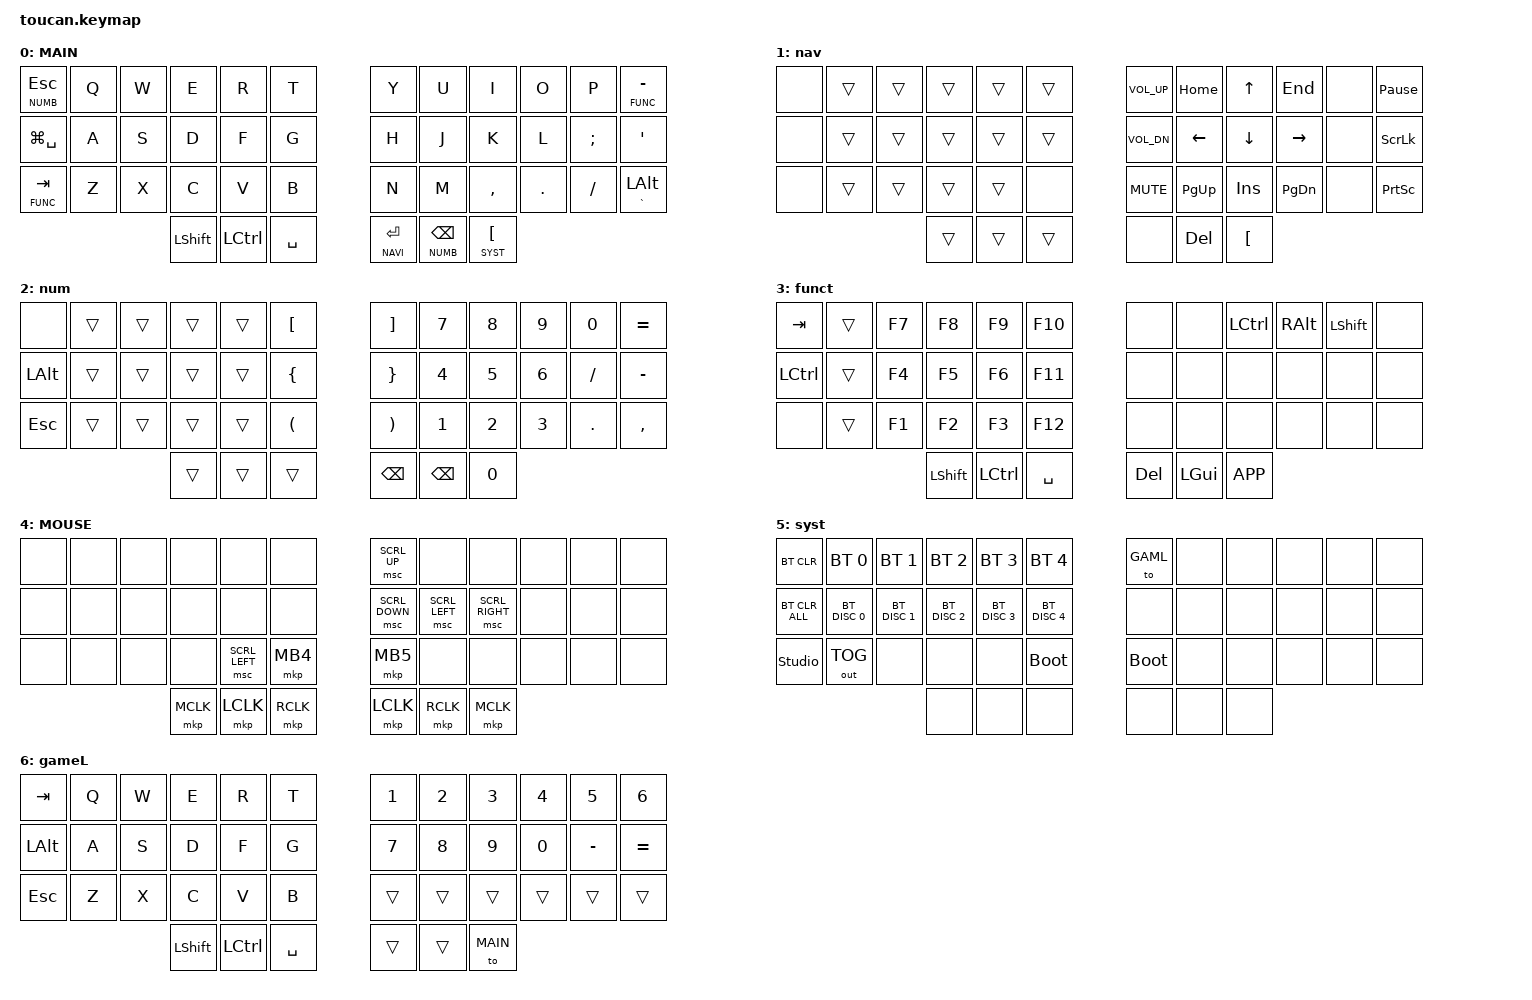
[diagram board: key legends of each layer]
#include <behaviors.dtsi>
#include <dt-bindings/zmk/keys.h>
#include <dt-bindings/zmk/bt.h>
#include <dt-bindings/zmk/outputs.h>
#include <dt-bindings/zmk/pointing.h>

#define MAIN 0
#define NAVI 1
#define NUMB 2
#define FUNC 3
#define MOUS 4
#define SYST 5
#define GAML 6

/ {
    conditional_layers {
        compatible = "zmk,conditional-layers";
        // tri_layer {
        //     if-layers = <1 2>;
        //     then-layer = <3>;
        // };
    };

    macros {
        quote_left: quote_left {
            label = "QUOTE_LEFT";
            compatible = "zmk,behavior-macro";
            #binding-cells = <0>;
            wait-ms = <15>;
            tap-ms = <15>;
            bindings
                = <&macro_press &kp LALT>
                , <&macro_tap &kp KP_N0 &kp KP_N1 &kp KP_N7 &kp KP_N1>
                , <&macro_release &kp LALT>;
        };

        quote_right: quote_right {
            label = "QUOTE_RIGHT";
            compatible = "zmk,behavior-macro";
            #binding-cells = <0>;
            wait-ms = <15>;
            tap-ms = <15>;
            bindings
                = <&macro_press &kp LALT>
                , <&macro_tap &kp KP_N0 &kp KP_N1 &kp KP_N8 &kp KP_N7>
                , <&macro_release &kp LALT>;
        };
    };
 
 
    keymap {
        compatible = "zmk,keymap";

        base {
            display-name = "MAIN";
            bindings = <
                &lt NUMB ESC   &kp Q  &kp W  &kp E     &kp R     &kp T        &kp Y &kp U   &kp I          &kp O    &kp P     &lt FUNC MINUS
                &kp LG(SPACE)  &kp A  &kp S  &kp D     &kp F     &kp G        &kp H &kp J   &kp K          &kp L    &kp SEMI  &kp SQT
                &lt FUNC TAB   &kp Z  &kp X  &kp C     &kp V     &kp B        &kp N &kp M   &kp COMMA      &kp DOT  &kp FSLH  &mt GRAVE LALT 
                                             &kp LSHFT &kp LCTRL &kp SPACE    &lt NAVI RET  &lt NUMB BSPC  &lt SYST LBKT
            >;
        };

        nav {
            display-name = "nav";
            bindings = <
                &none  &trans &trans  &trans  &trans       &trans    &kp C_VOL_UP  &kp HOME   &kp UP     &kp END    &none &kp PAUSE_BREAK
                &none  &trans &trans  &trans  &trans       &trans    &kp C_VOL_DN  &kp LEFT   &kp DOWN   &kp RIGHT  &none &kp SLCK
                &none  &trans &trans  &trans  &trans       &none     &kp C_MUTE    &kp PG_UP  &kp INS    &kp PG_DN  &none &kp PSCRN
                                      &trans  &trans       &trans    &none         &kp DEL    &kp LBKT
            >;
        };

        num {
            display-name = "num";
            bindings = <
                &none    &trans &trans  &trans  &trans  &kp LBKT      &kp RBKT  &kp N7   &kp N8  &kp N9  &kp N0   &kp EQUAL
                &kp LALT &trans &trans  &trans  &trans  &kp LBRC      &kp RBRC  &kp N4   &kp N5  &kp N6  &kp FSLH &kp MINUS
                &kp ESC  &trans &trans  &trans  &trans  &kp LPAR      &kp RPAR  &kp N1   &kp N2  &kp N3  &kp DOT  &kp COMMA
                                        &trans  &trans  &trans        &kp BSPC  &kp BSPC &kp N0
            >;
        };
 
        fun {
            display-name = "funct";
            bindings = <
            &kp TAB   &trans &kp F7    &kp F8 &kp F9 &kp F10      &none    &none     &kp LCTRL  &kp RALT  &kp LSHFT  &none
            &kp LCTRL &trans &kp F4    &kp F5 &kp F6 &kp F11      &none    &none     &none      &none     &none      &none
            &none     &trans &kp F1    &kp F2 &kp F3 &kp F12      &none    &none     &none      &none     &none      &none
                             &kp LSHFT &kp LCTRL  &kp SPACE       &kp DEL  &kp LGUI  &kp K_APP
            >;
        };
 
        mouse {
            display-name = "MOUSE";
            bindings = <
            &none  &none  &none &none      &none          &none          &msc SCRL_UP    &none         &none   &none  &none  &none
            &none  &none  &none &none      &none          &none          &msc SCRL_DOWN  &msc SCRL_LEFT &msc SCRL_RIGHT &none  &none &none
            &none  &none  &none &none      &msc SCRL_LEFT &mkp MB4       &mkp MB5        &none          &none         &none  &none &none
                                &mkp MCLK  &mkp LCLK      &mkp RCLK      &mkp LCLK       &mkp RCLK      &mkp MCLK
            >;
        };

        sys {
            display-name = "syst";
            bindings = <
                &bt BT_CLR      &bt BT_SEL 0   &bt BT_SEL 1  &bt BT_SEL 2   &bt BT_SEL 3   &bt BT_SEL 4      &to GAML       &none  &none &none &none &none
                &bt BT_CLR_ALL  &bt BT_DISC 0  &bt BT_DISC 1 &bt BT_DISC 2  &bt BT_DISC 3  &bt BT_DISC 4     &none        &none  &none &none &none &none
                &studio_unlock  &out OUT_TOG   &none         &none          &none          &bootloader       &bootloader  &none  &none &none &none &none
                                               &none &none   &none                                           &none        &none  &none
            >;
        };
		
		gameL {
            display-name = "gameL";
            bindings = <
                &kp TAB    &kp Q  &kp W  &kp E  &kp R  &kp T       &kp N1  &kp N2  &kp N3  &kp N4  &kp N5     &kp N6
                &kp LALT   &kp A  &kp S  &kp D  &kp F  &kp G       &kp N7  &kp N8  &kp N9  &kp N0  &kp MINUS  &kp EQUAL
                &kp ESC    &kp Z  &kp X  &kp C  &kp V  &kp B       &trans  &trans  &trans  &trans  &trans     &trans
                            &kp LSHFT   &kp LCTRL      &kp SPACE   &trans  &trans  &to MAIN
            >;
        };

        extra_2 {
                status = "reserved";
        };

        extra_3 {
                status = "reserved";
        };
    };
};
